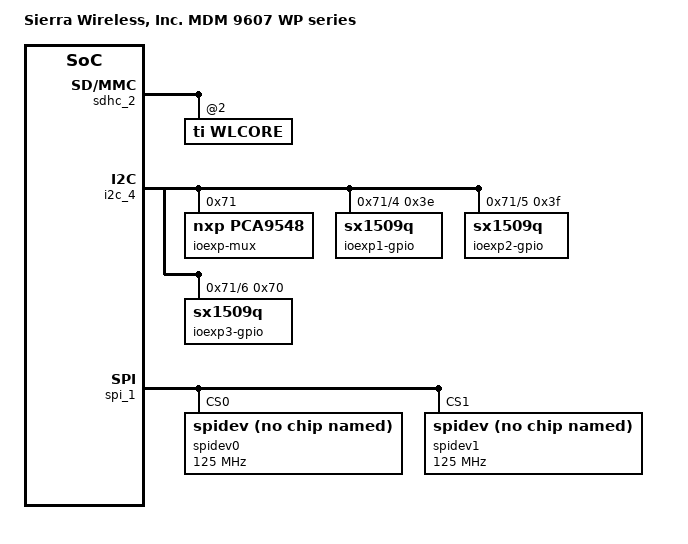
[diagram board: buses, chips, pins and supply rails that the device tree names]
/*
 * Copyright (c) 2015, The Linux Foundation. All rights reserved.
 *
 * This program is free software; you can redistribute it and/or modify
 * it under the terms of the GNU General Public License version 2 and
 * only version 2 as published by the Free Software Foundation.
 *
 * This program is distributed in the hope that it will be useful,
 * but WITHOUT ANY WARRANTY; without even the implied warranty of
 * MERCHANTABILITY or FITNESS FOR A PARTICULAR PURPOSE.  See the
 * GNU General Public License for more details.
 */

/dts-v1/;

#include "mdm9607-wp76xx.dtsi"

/ {
	model = "Sierra Wireless, Inc. MDM 9607 WP series";
	compatible = "qcom,mdm9607-mtp", "qcom,mdm9607", "qcom,mtp";
	qcom,board-id = <8 0x81>;
};

&sdhc_2 {
	status = "ok";
	ti,non-removable;
	ti,needs-special-hs-handling;
	cap-power-off-card;
	keep-power-in-suspend;
	wlcore: wlcore@0 {
		compatible = "ti,wlcore";
		reg = <2>;
	};
};

&soc {
	sierra_gpio {
		// In (parentess) described real mangOH Green signals
		// GPIO expander 1
		alias-ARDUINO_RESET_LEVEL = <300 0>; // I/O_0
		alias-BATTCHRGR_PG_N = <301 0>;      // I/O_1
		alias-BATTGAUGE_GPIO = <302 0>;      // I/O_2
		alias-LED_ON = <303 0>;              // I/O_3
		alias-ATMEGA_RESET_GPIO = <304 0>;   // I/O_4
		alias-CONNECT_TO_AV_LED = <305 0>;   // I/O_5
		alias-PCM_ANALOG_SELECT = <306 0>;   // I/O_6
		alias-CONNECT_TO_AV = <307 0>;       // I/O_7
		alias-BOARD_REV_RES1 = <308 0>;      // I/O_8
		alias-BOARD_REV_RES2 = <309 0>;      // I/O_9
		alias-UART_EXP1_ENN = <310 0>;       // I/O_10
		alias-UART_EXP1_IN = <311 0>;        // I/O_11
		alias-UART_EXP2_IN = <312 0>;        // I/O_12
		alias-SDIO_SEL = <313 0>;            // I/O_13
		alias-SPI_EXP1_ENN = <314 0>;        // I/O_14
		alias-SPI_EXP1_IN = <315 0>;         // I/O_15
		// GPIO expander 2
		alias-IOT0_GPIO3 = <320 0>;          // I/O_0 (GPIOEXP_INT1)
		alias-IOT0_GPIO2 = <321 0>;          // I/O_1 (Battery detect)
		alias-IOT0_GPIO1 = <322 0>;          // I/O_2 (GPIO_SCF3_RESET)
		alias-IOT1_GPIO3 = <323 0>;          // I/O_3 (LED_CARD_DETECT_IOT0)
		alias-IOT1_GPIO2 = <324 0>;          // I/O_4 (LED_CARD_DETECT_IOT1)
		alias-IOT1_GPIO1 = <325 0>;          // I/O_5 (LED_CARD_DETECT_IOT2)
		alias-IOT2_GPIO3 = <326 0>;          // I/O_6 (UIM2_PWM_SELECT)
		alias-IOT2_GPIO2 = <327 0>;          // I/O_7 (UIM2_M2_S_SELECT)
		alias-IOT2_GPIO1 = <328 0>;          // I/O_8 (TP900)
		alias-SENSOR_INT1 = <329 0>;         // I/O_9
		alias-SENSOR_INT2 = <330 0>;         // I/O_10
		alias-CARD_DETECT_IOT0 = <331 0>;    // I/O_11
		alias-CARD_DETECT_IOT2 = <332 0>;    // I/O_12
		alias-CARD_DETECT_IOT1 = <333 0>;    // I/O_13
		alias-GPIOEXP_INT3 = <334 0>;        // I/O_14
		alias-BATTCHRGR_INT = <335 0>;       // I/O_15
		// GPIO expander 3
		alias-USB_HUB_INTN = <340 0>;        // I/O_0
		alias-HUB_CONNECT = <341 0>;         // I/O_1
		alias-GPIO_IOT2_RESET = <342 0>;     // I/O_2
		alias-GPIO_IOT1_RESET = <343 0>;     // I/O_3
		alias-GPIO_IOT0_RESET = <344 0>;     // I/O_4
		alias-IOT0_GPIO4 = <345 0>;          // I/O_5 (TP901)
		alias-IOT1_GPIO4 = <346 0>;          // I/O_6 (TP902)
		alias-IOT2_GPIO4 = <347 0>;          // I/O_7 (TP903)
		alias-UART_EXP2_ENN = <348 0>;       // I/O_8
		alias-PCM_EXP1_ENN = <349 0>;        // I/O_9
		alias-PCM_EXP1_SEL = <350 0>;        // I/O_10
		alias-ARD_FTDI = <351 0>;            // I/O_11
		alias-LCD_ON_OFF = <352 0>;          // I/O_12 (TP904)
		alias-FAST_SIM_SWITCH = <353 0>;     // I/O_13 (TP905)
		alias-ARDUINO_USB_CTRL = <354 0>;    // I/O_14 (TP906)
		alias-RS232_ENABLE = <355 0>;        // I/O_15
	};
};

&i2c_4 {
	ioexp-mux@71 {
		// IO expanders are below the I2C switch PCA9548
		compatible = "nxp,pca9548";
		reg = <0x71>;
		#address-cells = <1>;
		#size-cells = <0>;

		i2c@4 {
			// IO expander 1: channel 4
			#address-cells = <1>;
			#size-cells = <0>;
			reg = <4>;
			ioexp1_gpios: io_exp@3e {
				#gpio-cells = <2>;
				gpio-controller;
				compatible = "sx1509q";
				reg = <0x3e>;
				sx150x,pullup_ena = <0x0>;
				sx150x,pulldn_ena = <0x0>;
				sx150x,float_ena = <0x0>;
				sx150x,polarity = <0x0>;
				label = "ioexp1-gpio";
				sx150x,gpio_base = <300>;
			};
		};
		i2c@5 {
			// IO expander 1: channel 5
			#address-cells = <1>;
			#size-cells = <0>;
			reg = <5>;
			ioexp2_gpios: io_exp@3f {
				#gpio-cells = <2>;
				gpio-controller;
				compatible = "sx1509q";
				reg = <0x3f>;
				/* Set pullup for GPIO 11, 12, 13 to select card inserted */
				sx150x,pullup_ena = <0x3800>;
				sx150x,pulldn_ena = <0x0>;
				sx150x,float_ena = <0x0>;
				sx150x,polarity = <0x0>;
				label = "ioexp2-gpio";
				sx150x,gpio_base = <320>;
			};
		};
		i2c@6 {
			// IO expander 3: channel 6
			#address-cells = <1>;
			#size-cells = <0>;
			reg = <6>;
			ioexp3_gpios: io_exp@70 {
				#gpio-cells = <2>;
				gpio-controller;
				compatible = "sx1509q";
				reg = <0x70>;
				sx150x,pullup_ena = <0x0>;
				sx150x,pulldn_ena = <0x0>;
				sx150x,float_ena = <0x0>;
				sx150x,polarity = <0x0>;
				label = "ioexp3-gpio";
				sx150x,gpio_base = <340>;
			};
		};
	};
};

&spi_1 {
	status = "ok";

	spidev0: spidev@0{
		compatible = "spidev";
		reg = <0>;
		#address-cells = <1>;
		#size-cells = <0>;
		spi-max-frequency = <125000000>;
	};

	spidev1: spidev@1{
		compatible = "spidev";
		reg = <1>;
		#address-cells = <1>;
		#size-cells = <0>;
		spi-max-frequency = <125000000>;
	};
};
